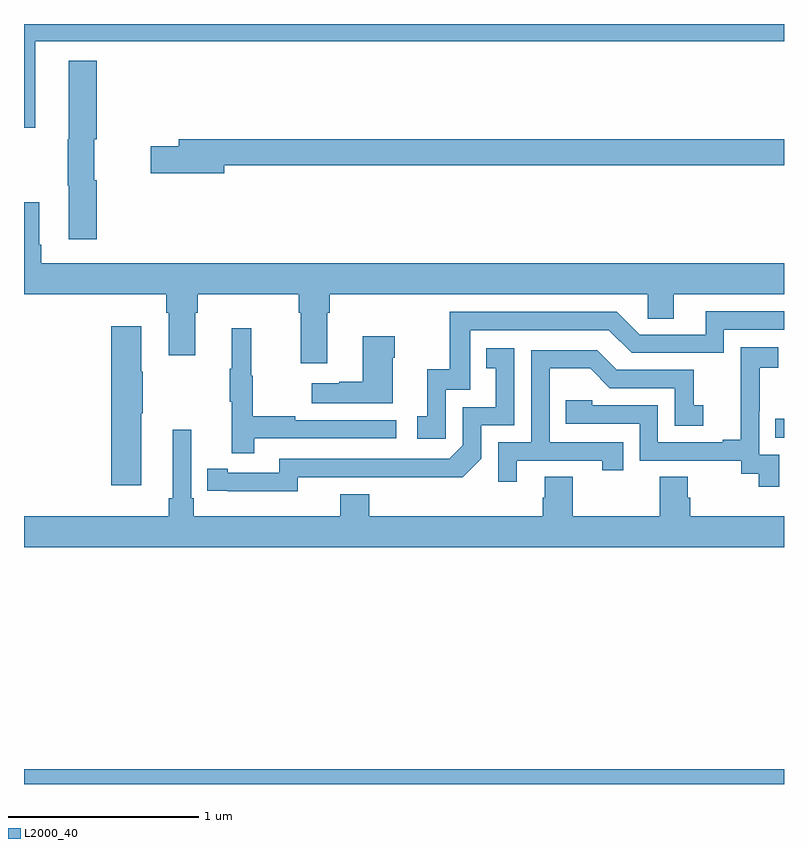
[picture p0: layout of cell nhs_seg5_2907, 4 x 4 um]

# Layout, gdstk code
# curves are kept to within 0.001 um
import gdstk
lib = gdstk.Library(unit=1e-6, precision=1e-09)
def R(c, l, rs):  # rectangles x0, y0, x1, y1
    for r in rs: c.add(gdstk.rectangle(r[:2], r[2:], *l))
def P(c, l, *ps):  # polygons
    for p in ps: c.add(gdstk.Polygon(p, *l))
L2000_40 = (2000, 40)

nhs_seg5_2907 = lib.new_cell('nhs_seg5_2907')
R(nhs_seg5_2907, L2000_40, [(279,904.799,283,904.876), (282.955,906.621,283,906.722)])
P(nhs_seg5_2907, L2000_40, [(279,908.253),(279.058,908.253),(279.058,908.708),(283,908.708),(283,908.799),(279,908.799)],
  [(279.383,907.977),(279.37,907.977),(279.37,908.192),(279.383,908.192),(279.383,908.605),(279.236,908.605),(279.236,908.192),(279.229,908.192),(279.229,907.948),(279.236,907.948),(279.236,907.665),(279.383,907.665)],
  [(280.054,908.056),(283,908.056),(283,908.192),(279.815,908.192),(279.815,908.156),(279.666,908.156),(279.666,908.014),(280.054,908.014)],
  [(280.597,907.28),(280.61,907.28),(280.61,907.376),(282.282,907.376),(282.282,907.249),(282.421,907.249),(282.421,907.376),(283,907.376),(283,907.54),(279.092,907.54),(279.092,907.636),(279.079,907.636),(279.079,907.861),(279,907.861),(279,907.376),(279.749,907.376),(279.749,907.28),(279.761,907.28),(279.761,907.056),(279.901,907.056),(279.901,907.28),(279.914,907.28),(279.914,907.376),(280.445,907.376),(280.445,907.28),(280.457,907.28),(280.457,907.014),(280.597,907.014)],
  [(281.22,906.873),(281.349,906.873),(281.349,907.188),(282.078,907.188),(282.198,907.068),(282.684,907.068),(282.684,907.191),(283,907.191),(283,907.287),(282.587,907.287),(282.587,907.164),(282.24,907.164),(282.12,907.284),(281.241,907.284),(281.241,906.982),(281.123,906.982),(281.123,906.735),(281.07,906.735),(281.07,906.615),(281.22,906.615)],
  [(279.616,906.751),(279.624,906.751),(279.624,906.968),(279.616,906.968),(279.616,907.207),(279.458,907.207),(279.458,906.372),(279.616,906.372)],
  [(280.211,906.618),(280.96,906.618),(280.96,906.714),(280.427,906.714),(280.427,906.734),(280.204,906.734),(280.204,906.948),(280.196,906.948),(280.196,907.198),(280.094,907.198),(280.094,906.985),(280.083,906.985),(280.083,906.811),(280.094,906.811),(280.094,906.54),(280.211,906.54)],
  [(280.942,907.043),(280.95,907.043),(280.95,907.156),(280.784,907.156),(280.784,906.917),(280.658,906.917),(280.658,906.907),(280.515,906.907),(280.515,906.803),(280.942,906.803)],
  [(282.975,906.531),(282.87,906.531),(282.87,906.761),(282.872,906.761),(282.872,906.989),(282.97,906.989),(282.97,907.099),(282.772,907.099),(282.772,906.893),(282.773,906.893),(282.773,906.61),(282.677,906.61),(282.677,906.597),(282.336,906.597),(282.336,906.792),(281.991,906.792),(281.991,906.819),(281.851,906.819),(281.851,906.696),(282.24,906.696),(282.24,906.501),(282.774,906.501),(282.774,906.433),(282.867,906.433),(282.867,906.363),(282.975,906.363)],
  [(280.44,906.414),(281.308,906.413),(281.406,906.51),(281.406,906.687),(281.58,906.687),(281.58,907.093),(281.434,907.093),(281.434,906.987),(281.483,906.987),(281.483,906.783),(281.31,906.783),(281.31,906.582),(281.238,906.51),(280.344,906.51),(280.344,906.438),(280.072,906.438),(280.072,906.458),(279.964,906.458),(279.964,906.342),(280.44,906.341)],
  [(281.593,906.501),(282.044,906.501),(282.044,906.45),(282.155,906.45),(282.155,906.597),(281.766,906.597),(281.766,906.986),(281.98,906.986),(282.084,906.882),(282.426,906.882),(282.426,906.684),(282.574,906.684),(282.574,906.793),(282.525,906.793),(282.525,906.978),(282.121,906.978),(282.016,907.083),(281.67,907.083),(281.67,906.597),(281.496,906.597),(281.496,906.39),(281.593,906.39)],
  [(283,906.208),(282.506,906.208),(282.506,906.306),(282.493,906.306),(282.493,906.416),(282.346,906.416),(282.346,906.208),(281.889,906.208),(281.889,906.416),(281.741,906.416),(281.741,906.306),(281.729,906.306),(281.729,906.208),(280.817,906.208),(280.817,906.325),(280.664,906.325),(280.664,906.208),(279.893,906.208),(279.893,906.304),(279.879,906.304),(279.879,906.664),(279.782,906.664),(279.782,906.304),(279.763,906.304),(279.763,906.208),(279,906.208),(279,906.044),(283,906.044)])

lib.write_gds('nhs_seg5_2907.gds')
